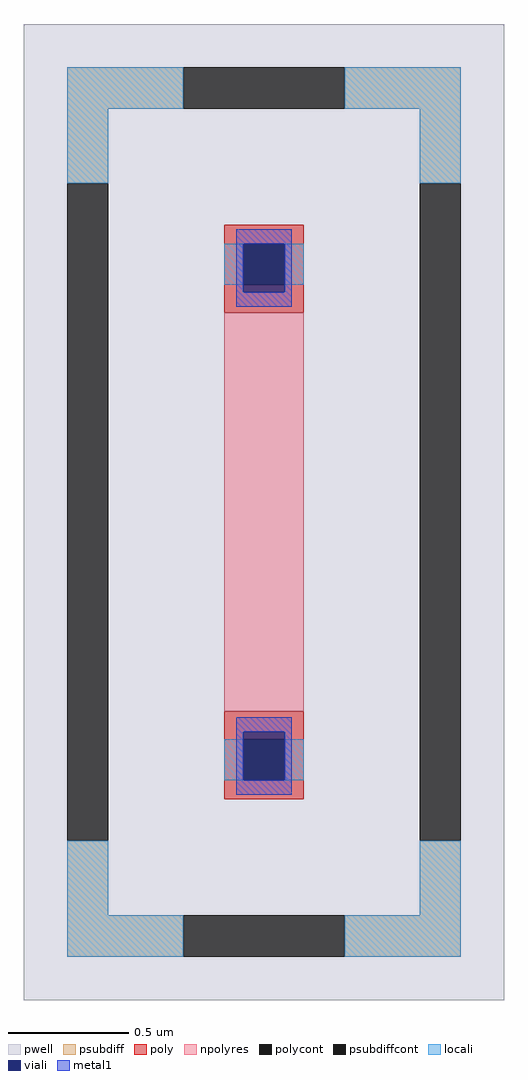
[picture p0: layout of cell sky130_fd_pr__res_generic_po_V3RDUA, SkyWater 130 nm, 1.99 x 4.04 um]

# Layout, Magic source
magic
tech sky130A
magscale 1 2
<< pwell >>
rect -199 -404 199 404
<< psubdiff >>
rect -163 334 -67 368
rect 67 334 163 368
rect -163 272 -129 334
rect 129 272 163 334
rect -163 -334 -129 -272
rect 129 -334 163 -272
rect -163 -368 -67 -334
rect 67 -368 163 -334
<< psubdiffcont >>
rect -67 334 67 368
rect -163 -272 -129 272
rect 129 -272 163 272
rect -67 -368 67 -334
<< poly >>
rect -33 222 33 238
rect -33 188 -17 222
rect 17 188 33 222
rect -33 165 33 188
rect -33 -188 33 -165
rect -33 -222 -17 -188
rect 17 -222 33 -188
rect -33 -238 33 -222
<< polycont >>
rect -17 188 17 222
rect -17 -222 17 -188
<< npolyres >>
rect -33 -165 33 165
<< locali >>
rect -163 334 -67 368
rect 67 334 163 368
rect -163 272 -129 334
rect 129 272 163 334
rect -33 188 -17 222
rect 17 188 33 222
rect -33 -222 -17 -188
rect 17 -222 33 -188
rect -163 -334 -129 -272
rect 129 -334 163 -272
rect -163 -368 -67 -334
rect 67 -368 163 -334
<< viali >>
rect -17 188 17 222
rect -17 182 17 188
rect -17 -188 17 -182
rect -17 -222 17 -188
<< metal1 >>
rect -23 222 23 234
rect -23 182 -17 222
rect 17 182 23 222
rect -23 170 23 182
rect -23 -182 23 -170
rect -23 -222 -17 -182
rect 17 -222 23 -182
rect -23 -234 23 -222
<< properties >>
string FIXED_BBOX -146 -351 146 351
string gencell sky130_fd_pr__res_generic_po
string library sky130
string parameters w 0.330 l 1.650 m 1 nx 1 wmin 0.330 lmin 1.650 rho 48.2 val 241.0 dummy 0 dw 0.0 term 0.0 sterm 0.0 caplen 0.4 snake 0 guard 1 glc 1 grc 1 gtc 1 gbc 1 roverlap 0 endcov 100 full_metal 1 hv_guard 0 n_guard 0 vias 1 viagb 0 viagt 0 viagl 0 viagr 0
<< end >>
